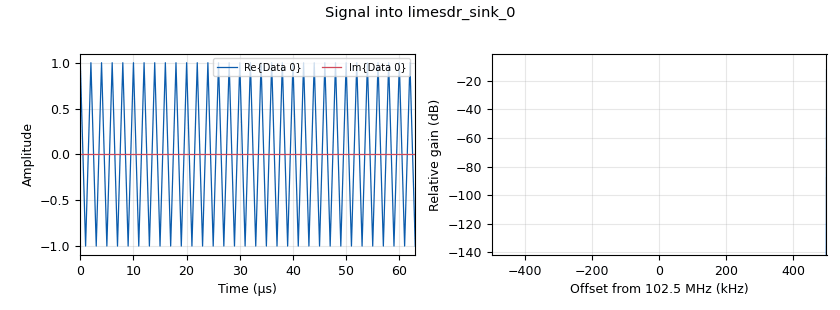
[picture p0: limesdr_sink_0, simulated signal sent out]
<?xml version='1.0' encoding='utf-8'?>
<?grc format='1' created='3.7.11'?>
<flow_graph>
<block>
<key>options</key>
<param><key>id</key><value>FM_Radio_FM_LimeSDR_CW</value></param>
<param><key>category</key><value>Custom</value></param>
<param><key>generate_options</key><value>no_gui</value></param>
</block>
<block>
<key>variable</key>
<param><key>id</key><value>frequency</value></param>
<param><key>value</key><value>102.5e6</value></param>
</block>
<block>
<key>variable</key>
<param><key>id</key><value>notes</value></param>
<param><key>value</key><value>"Jams FM with a CW signal."</value></param>
</block>
<block>
<key>variable</key>
<param><key>id</key><value>sample_rate</value></param>
<param><key>value</key><value>1e6</value></param>
</block>
<block>
<key>variable</key>
<param><key>id</key><value>tx_channel</value></param>
<param><key>value</key><value>0</value></param>
</block>
<block>
<key>variable</key>
<param><key>id</key><value>tx_gain</value></param>
<param><key>value</key><value>60</value></param>
</block>
<block>
<key>analog_sig_source_x</key>
<param><key>id</key><value>analog_sig_source_x_0</value></param>
<param><key>amp</key><value>1</value></param>
<param><key>freq</key><value>frequency</value></param>
<param><key>offset</key><value>0</value></param>
<param><key>type</key><value>complex</value></param>
<param><key>samp_rate</key><value>sample_rate</value></param>
<param><key>waveform</key><value>analog.GR_COS_WAVE</value></param>
</block>
<block>
<key>limesdr_sink</key>
<param><key>id</key><value>limesdr_sink_0</value></param>
<param><key>allow_tcxo_dac</key><value>0</value></param>
<param><key>calibr_bandw_ch0</key><value>5e6</value></param>
<param><key>digital_bandw_ch0</key><value>0</value></param>
<param><key>gain_dB_ch0</key><value>int(tx_gain)</value></param>
<param><key>calibr_bandw_ch1</key><value>5e6</value></param>
<param><key>digital_bandw_ch1</key><value>0</value></param>
<param><key>gain_dB_ch1</key><value>int(tx_gain)</value></param>
<param><key>pa_path_ch1</key><value>1</value></param>
<param><key>channel_mode</key><value>int(tx_channel)</value></param>
<param><key>oversample</key><value>0</value></param>
<param><key>rf_freq</key><value>frequency</value></param>
<param><key>samp_rate</key><value>sample_rate</value></param>
<param><key>dacVal</key><value>125</value></param>
</block>
<connection><source_block_id>analog_sig_source_x_0</source_block_id><sink_block_id>limesdr_sink_0</sink_block_id><source_key>0</source_key><sink_key>0</sink_key></connection>
</flow_graph>
